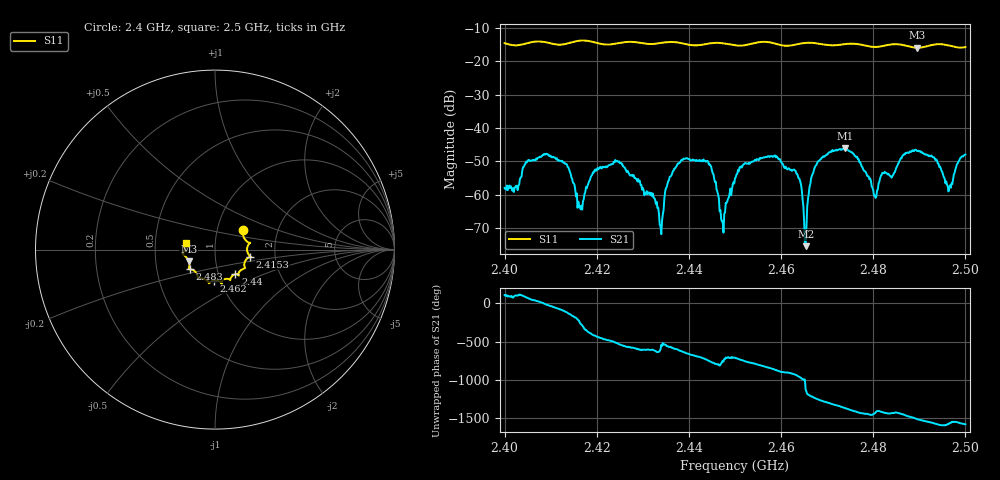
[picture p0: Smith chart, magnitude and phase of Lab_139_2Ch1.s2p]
# Hz S RI R 50
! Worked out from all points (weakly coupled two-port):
!   601 points, 2.4 GHz to 2.5 GHz, reference 50 ohm
!   highest |S21| = -46.07 dB at 2.4738 GHz (marker M1); lowest = -75.5 dB at 2.4653 GHz (marker M2)
!   lowest |S11| = -15.9 dB at 2.4895 GHz (marker M3), VSWR 1.38, Z = 37 - j4.99 ohm
!   |S11| at or under -10 dB: start of sweep to end of sweep
!   S12 and S22 are empty: the file has one direction only
!   S11 on the Smith chart (normalised r, x): 2.4 GHz: 1.33, +0.29; 2.4153 GHz: 1.48, -0.12; 2.44 GHz: 1.20, -0.34; 2.462 GHz: 0.93, -0.33; 2.483 GHz: 0.74, -0.17; 2.5 GHz: 0.72, +0.06
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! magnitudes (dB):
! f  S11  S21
! 2.4 GHz  -14.5  -58.0
! 2.4088 GHz  -14.2  -47.9
! 2.4153 GHz  -14.0  -58.6
! 2.4167 GHz  -13.7  -63.3
! 2.4192 GHz  -14.1  -53.3
! 2.4243 GHz  -14.6  -49.8
! 2.4333 GHz  -14.6  -63.9
! 2.44 GHz  -15.0  -49.2
! 2.4445 GHz  -14.6  -50.9
! 2.4472 GHz  -14.5  -68.0
! 2.45 GHz  -15.1  -55.1
! 2.462 GHz  -15.2  -52.6
! 2.464 GHz  -14.7  -55.2
! 2.4653 GHz  -14.4  -75.5
! 2.4667 GHz  -14.4  -54.4
! 2.4738 GHz  -14.8  -46.1
! 2.4803 GHz  -15.6  -60.3
! 2.483 GHz  -15.1  -53.7
! 2.4833 GHz  -15.0  -53.7
! 2.4895 GHz  -15.9  -46.9
! 2.4965 GHz  -15.2  -57.9
! 2.5 GHz  -15.7  -47.9
